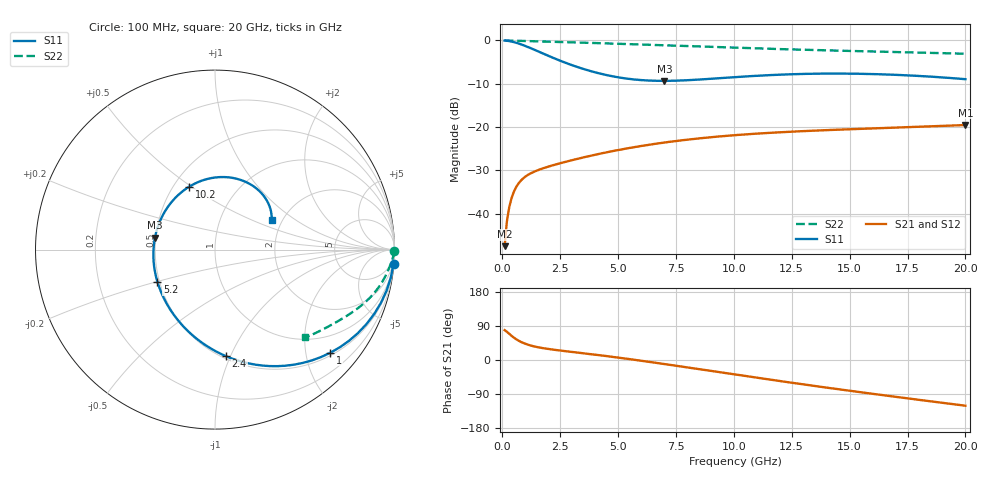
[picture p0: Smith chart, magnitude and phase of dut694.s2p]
! Touchstone file exported from HFSS 2024.1.0
!  File:  C:/UserFiles/LocalFiles/RDL_TSV_Batchsim/temp_RDL_TSV_694_1779819779.aedt
!  Generated:  02:36:49 AM May 27, 2026
!  Design:  RDL_TSV
!  Project:  temp_RDL_TSV_694_1779819779
!  Setup:  Setup1
!  Solution:  Sweep
! Variables:
!  dtsv = 13.26um
!  hbump = 3um
!  htsv = 87.85um
!  ldown = 303.56um
!  lrdl = 424.53um
!  p = 40
!  p1 = 48.94um
!  rhole = 10um
!  subl = 2608.8um
!  t = 450um
!  tdown = 4.2um
!  trdl = 3.99um
!  viad = 10um
!  wdown = 23um
!  wrdl = 29.82um
!  xbump = 18um
# GHz S MA R 50.000000
! Terminal data exported
! Port[1] = TM1_1_T1
! Port[2] = TM1_4_T1
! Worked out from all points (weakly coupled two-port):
!   200 points, 100 MHz to 20 GHz, reference 50 ohm
!   highest |S21| = -19.55 dB at 20 GHz (marker M1); lowest = -47.5 dB at 100 MHz (marker M2)
!   lowest |S11| = -9.3 dB at 7 GHz (marker M3), VSWR 2.04, Z = 24.7 + j3.72 ohm
!   |S11| at or under -10 dB: nowhere
!   |S22| runs from -3.1 to 0.0 dB; largest |S21 - S12| = 1.6e-14
!   S11 on the Smith chart (normalised r, x): 100 MHz: 1, -25; 1 GHz: 0.56, -2.51; 2.4 GHz: 0.52, -0.96; 5.2 GHz: 0.49, -0.20; 10.2 GHz: 0.60, +0.49; 20 GHz: 1.76, +0.67
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0.1  0.9977 -4.6  0.004199 78.9  0.004199 78.9  0.9993 -0.5
! Gamma 0 0 0 0
! Port Impedance 50 0 50 0
0.2  0.9919 -9.1  0.008188 74.4  0.008188 74.4  0.9981 -1.0
0.3  0.9828 -13.5  0.01184 69.0  0.01184 69.0  0.9967 -1.4
0.4  0.9708 -17.9  0.01507 63.8  0.01507 63.8  0.9951 -1.8
0.6  0.9401 -26.3  0.02025 54.8  0.02025 54.8  0.9919 -2.6
1  0.8623 -41.8  0.02675 42.6  0.02675 42.6  0.9851 -4.1
1.3  0.7989 -52.2  0.02981 37.0  0.02981 37.0  0.9801 -5.2
1.6  0.7371 -61.8  0.03219 33.0  0.03219 33.0  0.9751 -6.1
2.4  0.5975 -84.0  0.03749 25.7  0.03749 25.7  0.962 -8.6
2.9  0.5309 -96.5  0.04066 22.1  0.04066 22.1  0.9535 -10.1
3.5  0.4686 -110.8  0.04451 17.8  0.04451 17.8  0.9429 -11.9
4.3  0.4094 -129.6  0.04967 11.9  0.04967 11.9  0.9279 -14.1
5.2  0.3678 -150.7  0.05541 4.8  0.05541 4.8  0.9106 -16.4
6.8  0.3412 173.1  0.06501 -8.9  0.06501 -8.9  0.8797 -20.1
7  0.3411 168.8  0.06613 -10.6  0.06613 -10.6  0.8759 -20.5
8.6  0.3545 137.7  0.07433 -25.0  0.07433 -25.0  0.8469 -23.8
10.1  0.3774 113.7  0.08066 -38.7  0.08066 -38.7  0.8221 -26.7
10.2  0.3789 112.2  0.08103 -39.6  0.08103 -39.6  0.8205 -26.8
11.7  0.3992 92.7  0.08605 -53.0  0.08605 -53.0  0.7983 -29.5
13.4  0.4122 74.4  0.09059 -67.8  0.09059 -67.8  0.7756 -32.4
16.7  0.4033 47.2  0.09775 -94.9  0.09775 -94.9  0.7373 -38.2
20  0.3566 27.8  0.1053 -120.7  0.1053 -120.7  0.7022 -44.2
